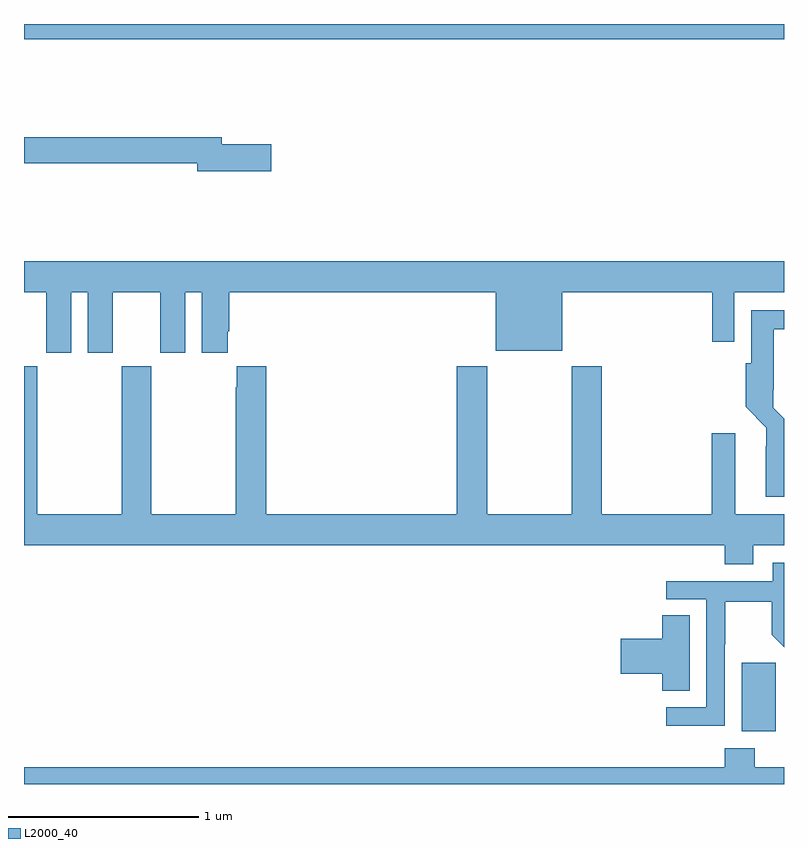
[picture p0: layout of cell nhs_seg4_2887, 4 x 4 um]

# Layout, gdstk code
import gdstk
lib = gdstk.Library(unit=1e-6, precision=1e-09)
def R(c, l, rs):  # rectangles x0, y0, x1, y1
    for r in rs: c.add(gdstk.rectangle(r[:2], r[2:], *l))
def P(c, l, *ps):  # polygons
    for p in ps: c.add(gdstk.Polygon(p, *l))
L2000_40 = (2000, 40)

nhs_seg4_2887 = lib.new_cell('nhs_seg4_2887')
R(nhs_seg4_2887, L2000_40, [(266.777,793.178,266.956,793.539), (263,796.82,267,796.9)])
P(nhs_seg4_2887, L2000_40, [(264.301,796.268),(264.04,796.268),(264.04,796.304),(263,796.304),(263,796.168),(263.912,796.168),(263.912,796.126),(264.301,796.126)],
  [(263.248,795.488),(263.336,795.488),(263.336,795.171),(263.467,795.171),(263.467,795.488),(263.717,795.488),(263.717,795.171),(263.848,795.171),(263.848,795.488),(263.936,795.488),(263.936,795.171),(264.073,795.171),(264.073,795.283),(264.08,795.283),(264.08,795.488),(265.484,795.488),(265.484,795.179),(265.834,795.179),(265.834,795.488),(266.623,795.488),(266.623,795.228),(266.739,795.228),(266.739,795.488),(267,795.488),(267,795.652),(263,795.652),(263,795.488),(263.117,795.488),(263.117,795.171),(263.248,795.171)],
  [(267,794.823),(266.943,794.88),(266.943,794.974),(266.947,794.974),(266.947,795.293),(267,795.293),(267,795.394),(266.828,795.394),(266.828,795.114),(266.798,795.114),(266.798,794.885),(266.907,794.776),(266.907,794.678),(266.903,794.678),(266.903,794.411),(267,794.411)],
  [(266.839,794.156),(267,794.156),(267,794.32),(266.743,794.32),(266.743,794.746),(266.621,794.746),(266.621,794.32),(266.042,794.32),(266.042,795.1),(265.882,795.1),(265.882,794.32),(265.437,794.32),(265.437,795.1),(265.277,795.1),(265.277,794.32),(264.275,794.32),(264.275,795.1),(264.119,795.1),(264.119,794.987),(264.115,794.987),(264.115,794.32),(263.67,794.32),(263.67,795.1),(263.515,795.1),(263.515,794.32),(263.07,794.32),(263.07,795.1),(263,795.1),(263,794.156),(266.687,794.156),(266.687,794.057),(266.839,794.057)],
  [(266.688,793.636),(266.691,793.636),(266.691,793.86),(266.935,793.86),(266.935,793.685),(267,793.62),(267,794.065),(266.94,794.065),(266.94,793.968),(266.379,793.968),(266.379,793.872),(266.592,793.872),(266.592,793.305),(266.379,793.305),(266.379,793.207),(266.688,793.207)],
  [(266.503,793.787),(266.36,793.787),(266.36,793.664),(266.142,793.664),(266.142,793.481),(266.36,793.481),(266.36,793.39),(266.503,793.39)],
  [(267,792.988),(266.847,792.988),(266.847,793.087),(266.687,793.087),(266.687,792.988),(263,792.988),(263,792.9),(267,792.9)])

lib.write_gds('nhs_seg4_2887.gds')
